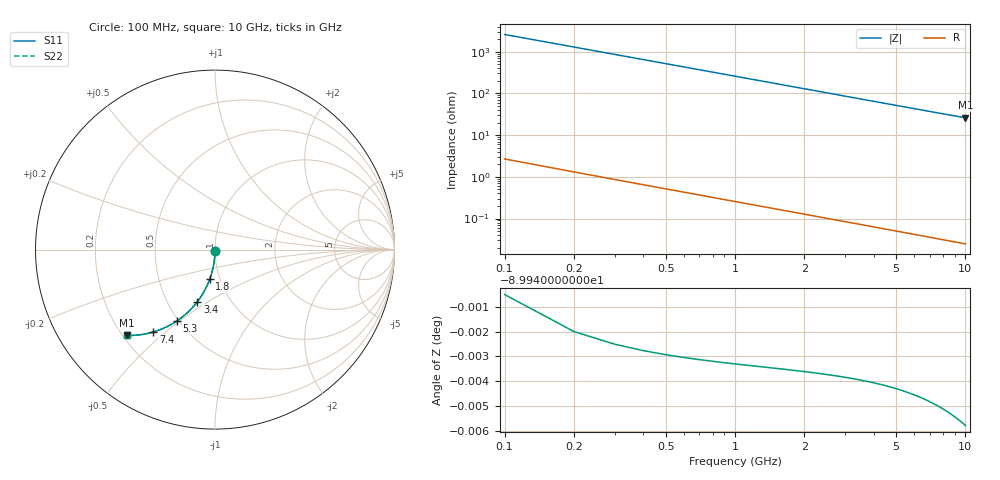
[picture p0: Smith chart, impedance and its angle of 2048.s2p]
# Hz S RI R 50.00
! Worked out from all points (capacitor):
!   100 points, 100 MHz to 10 GHz, reference 50 ohm
!   read as one part in shunt: C = 616 fF near 100 MHz
!   lowest |Z| = 26 ohm at 10 GHz (marker M1)
!   S11 on the Smith chart (normalised r, x): 100 MHz: 1.00, -0.02; 1.8 GHz: 0.89, -0.30; 3.4 GHz: 0.70, -0.45; 5.3 GHz: 0.49, -0.49; 7.4 GHz: 0.33, -0.46; 10 GHz: 0.22, -0.39
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1e8  -6.3e-05 -0.00947  0.9999 -0.00988  0.9999 -0.00988  -6.3e-05 -0.00947
2e8  -0.000353 -0.0189  0.9996 -0.0198  0.9996 -0.0198  -0.000353 -0.0189
3e8  -0.00083 -0.0284  0.9991 -0.0296  0.9991 -0.0296  -0.00083 -0.0284
4e8  -0.00149 -0.0378  0.9984 -0.0395  0.9984 -0.0395  -0.00149 -0.0378
5e8  -0.00234 -0.0473  0.9976 -0.0493  0.9976 -0.0493  -0.00234 -0.0473
6e8  -0.00338 -0.0567  0.9965 -0.0591  0.9965 -0.0591  -0.00338 -0.0567
8e8  -0.006 -0.0754  0.9939 -0.0786  0.9939 -0.0786  -0.006 -0.0754
9e8  -0.00758 -0.0847  0.9923 -0.0883  0.9923 -0.0883  -0.00758 -0.0847
1.1e9  -0.0113 -0.1031  0.9886 -0.1076  0.9886 -0.1076  -0.0113 -0.1031
1.4e9  -0.0181 -0.1303  0.9818 -0.136  0.9818 -0.136  -0.0181 -0.1303
1.8e9  -0.0297 -0.1656  0.9702 -0.173  0.9702 -0.173  -0.0297 -0.1656
2.1e9  -0.0399 -0.1912  0.9599 -0.1998  0.9599 -0.1998  -0.0399 -0.1912
2.5e9  -0.0557 -0.2239  0.9441 -0.2342  0.9441 -0.2342  -0.0557 -0.2239
2.9e9  -0.0736 -0.2548  0.9262 -0.2667  0.9262 -0.2667  -0.0736 -0.2548
3.4e9  -0.0985 -0.2907  0.9013 -0.3047  0.9013 -0.3047  -0.0985 -0.2907
4.2e9  -0.1432 -0.3412  0.8566 -0.3586  0.8566 -0.3586  -0.1432 -0.3412
5.1e9  -0.1981 -0.3876  0.8016 -0.4088  0.8016 -0.4088  -0.1981 -0.3876
5.3e9  -0.2107 -0.3964  0.789 -0.4185  0.789 -0.4185  -0.2107 -0.3964
6.7e9  -0.2998 -0.4437  0.6997 -0.4718  0.6997 -0.4718  -0.2998 -0.4437
7.4e9  -0.3435 -0.4589  0.6559 -0.4901  0.6559 -0.4901  -0.3435 -0.4589
8.4e9  -0.4034 -0.4724  0.5959 -0.5079  0.5959 -0.5079  -0.4034 -0.4724
1e10  -0.4905 -0.4781  0.5085 -0.5208  0.5085 -0.5208  -0.4905 -0.4781
